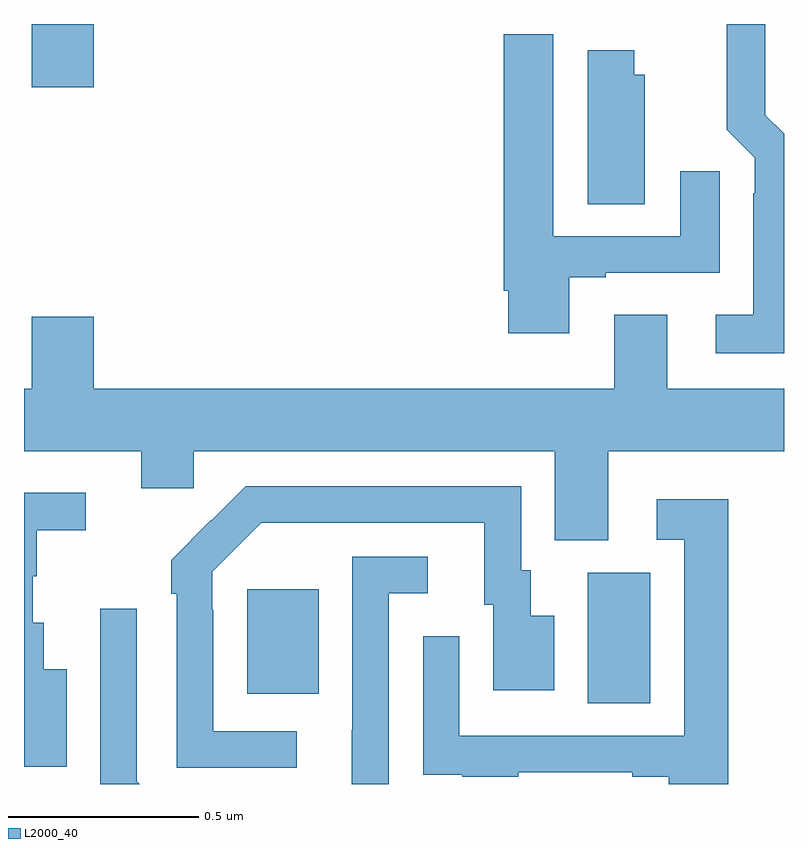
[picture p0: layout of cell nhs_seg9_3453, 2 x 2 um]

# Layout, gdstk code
import gdstk
lib = gdstk.Library(unit=1e-6, precision=1e-09)
def R(c, l, rs):  # rectangles x0, y0, x1, y1
    for r in rs: c.add(gdstk.rectangle(r[:2], r[2:], *l))
def P(c, l, *ps):  # polygons
    for p in ps: c.add(gdstk.Polygon(p, *l))
L2000_40 = (2000, 40)

nhs_seg9_3453 = lib.new_cell('nhs_seg9_3453')
R(nhs_seg9_3453, L2000_40, [(154.484,1239.712,154.648,1240.056), (153.587,1239.737,153.775,1240.012), (153.02,1241.334,153.184,1241.5)])
P(nhs_seg9_3453, L2000_40, [(155,1241.211),(154.951,1241.26),(154.951,1241.5),(154.849,1241.5),(154.849,1241.222),(154.923,1241.148),(154.923,1241.054),(154.919,1241.054),(154.919,1240.735),(154.821,1240.735),(154.821,1240.634),(155,1240.634)],
  [(154.435,1240.833),(154.531,1240.833),(154.531,1240.845),(154.831,1240.845),(154.831,1241.113),(154.727,1241.113),(154.727,1240.941),(154.393,1240.941),(154.393,1241.473),(154.262,1241.473),(154.262,1240.798),(154.274,1240.798),(154.274,1240.686),(154.435,1240.686)],
  [(154.633,1241.367),(154.606,1241.367),(154.606,1241.431),(154.484,1241.431),(154.484,1241.026),(154.633,1241.026)],
  [(154.537,1240.376),(155,1240.376),(155,1240.54),(154.693,1240.54),(154.693,1240.735),(154.553,1240.735),(154.553,1240.54),(153.184,1240.54),(153.184,1240.729),(153.02,1240.729),(153.02,1240.54),(153,1240.54),(153,1240.376),(153.308,1240.376),(153.308,1240.278),(153.447,1240.278),(153.447,1240.376),(154.397,1240.376),(154.397,1240.141),(154.537,1240.141)],
  [(153.718,1239.639),(153.498,1239.639),(153.498,1239.959),(153.495,1239.959),(153.495,1240.059),(153.624,1240.188),(154.211,1240.188),(154.211,1239.972),(154.235,1239.972),(154.235,1239.747),(154.396,1239.747),(154.396,1239.943),(154.333,1239.943),(154.333,1240.062),(154.308,1240.062),(154.308,1240.284),(153.584,1240.284),(153.493,1240.193),(153.492,1240.194),(153.387,1240.089),(153.387,1240.001),(153.402,1240.001),(153.402,1239.543),(153.718,1239.543)],
  [(153.112,1239.802),(153.052,1239.802),(153.052,1239.925),(153.023,1239.925),(153.023,1240.047),(153.034,1240.047),(153.034,1240.168),(153.163,1240.168),(153.163,1240.266),(153,1240.266),(153,1239.545),(153.112,1239.545)],
  [(154.853,1240.249),(154.665,1240.249),(154.665,1240.143),(154.737,1240.143),(154.737,1239.627),(154.146,1239.627),(154.146,1239.889),(154.05,1239.889),(154.05,1239.634),(154.051,1239.634),(154.051,1239.525),(154.153,1239.525),(154.153,1239.519),(154.301,1239.519),(154.301,1239.531),(154.601,1239.531),(154.601,1239.519),(154.697,1239.519),(154.697,1239.5),(154.853,1239.5)],
  [(153.96,1240.002),(154.063,1240.002),(154.063,1240.098),(153.864,1240.098),(153.864,1239.641),(153.863,1239.641),(153.863,1239.5),(153.96,1239.5)],
  [(153.297,1239.507),(153.297,1239.961),(153.201,1239.961),(153.201,1239.5),(153.304,1239.5)])

lib.write_gds('nhs_seg9_3453.gds')
